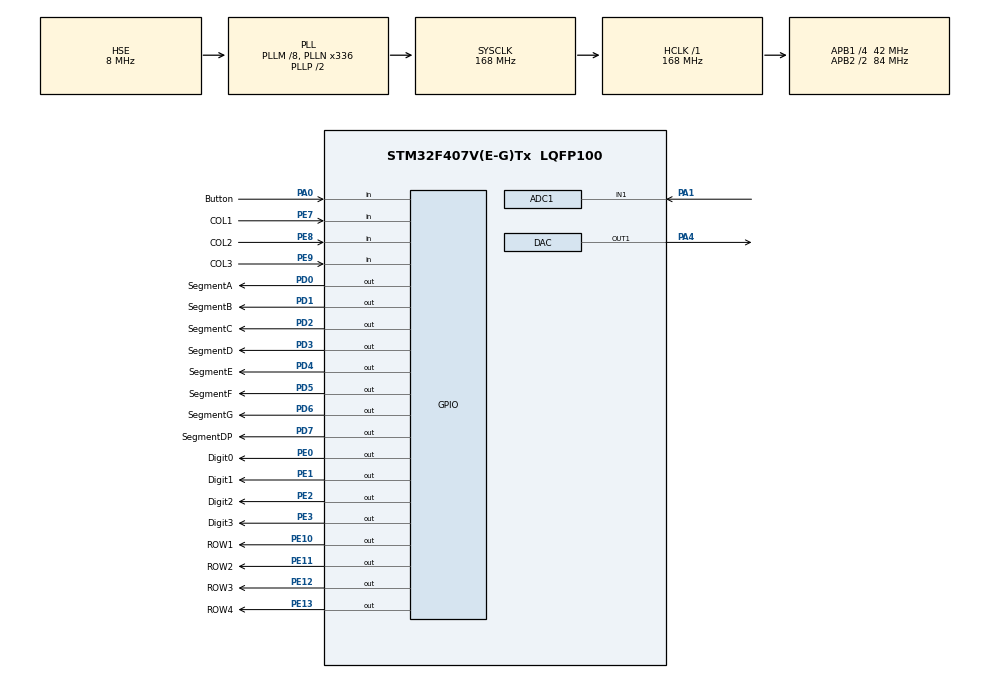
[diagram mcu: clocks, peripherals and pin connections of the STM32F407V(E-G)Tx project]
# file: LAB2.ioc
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ADC1.Channel-0\#ChannelRegularConversion=ADC_CHANNEL_1
ADC1.ClockPrescaler=ADC_CLOCK_SYNC_PCLK_DIV4
ADC1.ContinuousConvMode=ENABLE
ADC1.DMAContinuousRequests=ENABLE
ADC1.DataAlign=ADC_DATAALIGN_RIGHT
ADC1.DiscontinuousConvMode=DISABLE
ADC1.EOCSelection=ADC_EOC_SINGLE_CONV
ADC1.EnableAnalogWatchDog=false
ADC1.ExternalTrigConv=ADC_SOFTWARE_START
ADC1.ExternalTrigConvEdge=ADC_EXTERNALTRIGCONVEDGE_NONE
ADC1.InjNumberOfConversion=0
ADC1.NbrOfConversion=1
ADC1.NbrOfConversionFlag=1
ADC1.Rank-0\#ChannelRegularConversion=1
ADC1.Resolution=ADC_RESOLUTION_10B
ADC1.SamplingTime-0\#ChannelRegularConversion=ADC_SAMPLETIME_84CYCLES
ADC1.ScanConvMode=DISABLE
ADC1.master=1
Dma.ADC1.0.Direction=DMA_PERIPH_TO_MEMORY
Dma.ADC1.0.FIFOMode=DMA_FIFOMODE_DISABLE
Dma.ADC1.0.Instance=DMA2_Stream0
Dma.ADC1.0.MemDataAlignment=DMA_MDATAALIGN_WORD
Dma.ADC1.0.MemInc=DMA_MINC_ENABLE
Dma.ADC1.0.Mode=DMA_CIRCULAR
Dma.ADC1.0.PeriphDataAlignment=DMA_PDATAALIGN_WORD
Dma.ADC1.0.PeriphInc=DMA_PINC_DISABLE
Dma.ADC1.0.Priority=DMA_PRIORITY_LOW
Dma.Request0=ADC1
Mcu.Family=STM32F4
Mcu.Name=STM32F407V(E-G)Tx
Mcu.Package=LQFP100
NVIC.ADC_IRQn=true\:0\:0\:false\:false\:true\:true
NVIC.DMA2_Stream0_IRQn=true\:0\:0\:false\:false\:true\:false
NVIC.PriorityGroup=NVIC_PRIORITYGROUP_4
PA0-WKUP.GPIO_Label=Button
PA0-WKUP.GPIO_PuPd=GPIO_PULLDOWN
PA0-WKUP.Signal=GPIO_Input
PA1.Signal=ADCx_IN1
PA4.Signal=COMP_DAC1_group
PD0.GPIO_Label=SegmentA
PD0.Signal=GPIO_Output
PD1.GPIO_Label=SegmentB
PD1.Signal=GPIO_Output
PD2.GPIO_Label=SegmentC
PD2.Signal=GPIO_Output
PD3.GPIO_Label=SegmentD
PD3.Signal=GPIO_Output
PD4.GPIO_Label=SegmentE
PD4.Signal=GPIO_Output
PD5.GPIO_Label=SegmentF
PD5.Signal=GPIO_Output
PD6.GPIO_Label=SegmentG
PD6.Signal=GPIO_Output
PD7.GPIO_Label=SegmentDP
PD7.Signal=GPIO_Output
PE0.GPIO_Label=Digit0
PE0.Signal=GPIO_Output
PE1.GPIO_Label=Digit1
PE1.Signal=GPIO_Output
PE10.GPIO_Label=ROW1
PE10.Signal=GPIO_Output
PE11.GPIO_Label=ROW2
PE11.Signal=GPIO_Output
PE12.GPIO_Label=ROW3
PE12.Signal=GPIO_Output
PE13.GPIO_Label=ROW4
PE13.Signal=GPIO_Output
PE2.GPIO_Label=Digit2
PE2.Signal=GPIO_Output
PE3.GPIO_Label=Digit3
PE3.Signal=GPIO_Output
PE7.GPIO_Label=COL1
PE7.Signal=GPIO_Input
PE8.GPIO_Label=COL2
PE8.Signal=GPIO_Input
PE9.GPIO_Label=COL3
PE9.Signal=GPIO_Input
PH0-OSC_IN.Mode=HSE-External-Oscillator
PH0-OSC_IN.Signal=RCC_OSC_IN
PH1-OSC_OUT.Mode=HSE-External-Oscillator
PH1-OSC_OUT.Signal=RCC_OSC_OUT
ProjectManager.HeapSize=0x200
ProjectManager.StackSize=0x400
ProjectManager.TargetToolchain=MDK-ARM V5
RCC.48MHZClocksFreq_Value=84000000
RCC.AHBFreq_Value=168000000
RCC.APB1CLKDivider=RCC_HCLK_DIV4
RCC.APB1Freq_Value=42000000
RCC.APB1TimFreq_Value=84000000
RCC.APB2CLKDivider=RCC_HCLK_DIV2
RCC.APB2Freq_Value=84000000
RCC.APB2TimFreq_Value=168000000
RCC.CortexFreq_Value=168000000
RCC.HCLKFreq_Value=168000000
RCC.HSE_VALUE=8000000
RCC.HSI_VALUE=16000000
RCC.LSE_VALUE=32768
RCC.PLLM=8
RCC.PLLN=336
RCC.PLLSourceVirtual=RCC_PLLSOURCE_HSE
RCC.SYSCLKFreq_VALUE=168000000
RCC.SYSCLKSource=RCC_SYSCLKSOURCE_PLLCLK
RCC.VCOOutputFreq_Value=336000000
SH.ADCx_IN1.0=ADC1_IN1,IN1
SH.COMP_DAC1_group.0=DAC_OUT1,DAC_OUT1
board=LAB2

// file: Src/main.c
/**
  ******************************************************************************
  * @file           : main.c
  * @brief          : Main program body
  ******************************************************************************
  ** This notice applies to any and all portions of this file
  * that are not between comment pairs USER CODE BEGIN and
  * USER CODE END. Other portions of this file, whether
  * inserted by the user or by software development tools
  * are owned by their respective copyright owners.
  *
  * COPYRIGHT(c) 2018 STMicroelectronics
  *
  * Redistribution and use in source and binary forms, with or without modification,
  * are permitted provided that the following conditions are met:
  *   1. Redistributions of source code must retain the above copyright notice,
  *      this list of conditions and the following disclaimer.
  *   2. Redistributions in binary form must reproduce the above copyright notice,
  *      this list of conditions and the following disclaimer in the documentation
  *      and/or other materials provided with the distribution.
  *   3. Neither the name of STMicroelectronics nor the names of its contributors
  *      may be used to endorse or promote products derived from this software
  *      without specific prior written permission.
  *
  * THIS SOFTWARE IS PROVIDED BY THE COPYRIGHT HOLDERS AND CONTRIBUTORS "AS IS"
  * AND ANY EXPRESS OR IMPLIED WARRANTIES, INCLUDING, BUT NOT LIMITED TO, THE
  * IMPLIED WARRANTIES OF MERCHANTABILITY AND FITNESS FOR A PARTICULAR PURPOSE ARE
  * DISCLAIMED. IN NO EVENT SHALL THE COPYRIGHT HOLDER OR CONTRIBUTORS BE LIABLE
  * FOR ANY DIRECT, INDIRECT, INCIDENTAL, SPECIAL, EXEMPLARY, OR CONSEQUENTIAL
  * DAMAGES (INCLUDING, BUT NOT LIMITED TO, PROCUREMENT OF SUBSTITUTE GOODS OR
  * SERVICES; LOSS OF USE, DATA, OR PROFITS; OR BUSINESS INTERRUPTION) HOWEVER
  * CAUSED AND ON ANY THEORY OF LIABILITY, WHETHER IN CONTRACT, STRICT LIABILITY,
  * OR TORT (INCLUDING NEGLIGENCE OR OTHERWISE) ARISING IN ANY WAY OUT OF THE USE
  * OF THIS SOFTWARE, EVEN IF ADVISED OF THE POSSIBILITY OF SUCH DAMAGE.
  *
  ******************************************************************************
  */
#include "main.h"
#include "stm32f4xx_hal.h"

/* USER CODE BEGIN Includes */
#include "arm_math.h"
/* USER CODE END Includes */

ADC_HandleTypeDef hadc1;
DMA_HandleTypeDef hdma_adc1;

DAC_HandleTypeDef hdac;

/* USER CODE BEGIN PV */
/* Private variables ---------------------------------------------------------*/
volatile int systick_flag = 0;
int systick_counter = 0;
int current_display_digit = 0;
int current_display_mode = 0;
float running_min = 5;
float running_max = 0;
float adc_value = 0.0;
int button_ticks = 0;
int button_debounce_delay = 10;
uint32_t adc_readings[1];
float raw_data[10];
float filtered_data[10];
float rms_value;
float max_value;
float min_value;
float fir_coeff[10] = {
	-0.0490319314416,
	-0.0698589404353,
	0.0145608566286,
	0.213556898362,
	0.390773116886,
	0.390773116886,
	0.213556898362,
	0.0145608566286,
	-0.0698589404353,
	-0.0490319314416};

// keypad variables
	const char keypad [4][3] = {
	{'1', '2', '3'},
	{'4', '5', '6'},
	{'7', '8', '9'},
	{'*', '0', '#'}
};
/* USER CODE END PV */

void SystemClock_Config(void);
static void MX_GPIO_Init(void);
static void MX_DMA_Init(void);
static void MX_ADC1_Init(void);
static void MX_DAC_Init(void);

/* USER CODE BEGIN PFP */
/* Private function prototypes -----------------------------------------------*/
void update_rms_and_running_max_min(void);
uint32_t voltage_to_DAC_DOR(float voltage);
void set_DAC_value(float voltage);
void display_digit(int digit);
void display_number(float num);
void display_current_number(void);
float fir_filter(void);
int read_row();
int read_col();
char get_key();
/* USER CODE END PFP */

/* USER CODE BEGIN 0 */
/**
  * @brief  Updates the RMS, running MAX and running MIN based on the filtered data array.
  * @retval None
  */
void update_rms_and_running_max_min(void){
	// RMS
	arm_rms_f32(filtered_data, 10, &rms_value);
	// MAX & INDEX
	float32_t max;
	uint32_t maxIndex;
	arm_max_f32(filtered_data, 10, &max, &maxIndex);
	// MIN & INDEX
	float32_t min;
	uint32_t minIndex;
	arm_min_f32(filtered_data, 10, &min, &minIndex);
	if(running_max<max){
		running_max = max;
	}
	if(running_min>min){
		running_min = min;
	}
}

/**
  * @brief  Isolates for DOR in the following formula: DAC_OUTx = VREF+ * DOR / 4095.
  * @param  voltage: The voltage to be converted.
  * @retval The analog voltage converted to digital number.
  */
uint32_t voltage_to_DAC_DOR(float voltage)
{
	return (uint32_t)((voltage * 4095) / V_REF);
}

/**
  * @brief  Sets the DAC port to the desired voltage value.
  * @param  voltage: The voltage to set the DAC port to.
  * @retval None
  */
void set_DAC_value(float voltage)
{
	uint32_t converted_DAC_value = voltage_to_DAC_DOR(voltage);
	HAL_DAC_SetValue(&hdac, DAC_CHANNEL_1, DAC_ALIGN_12B_R, converted_DAC_value);
}

// 7-Segment Display
// Pins PD0 to PD7: Segments
// Pins PE0 to PE3: Digits

/**
  * @brief  Activate the required segments to display the desired digit.
  * @param  digit: The digit to display.
  * @retval None
  */
void display_digit(int digit)
{
	switch(digit)
	{
		case 0:
			HAL_GPIO_WritePin(GPIOD, SegmentA_Pin|SegmentB_Pin|SegmentC_Pin|SegmentD_Pin
                          |SegmentE_Pin|SegmentF_Pin, GPIO_PIN_SET);
			HAL_GPIO_WritePin(GPIOD, SegmentG_Pin, GPIO_PIN_RESET);
			break;
		case 1:
			HAL_GPIO_WritePin(GPIOD, SegmentB_Pin|SegmentC_Pin, GPIO_PIN_SET);
			HAL_GPIO_WritePin(GPIOD, SegmentA_Pin|SegmentD_Pin
                          |SegmentE_Pin|SegmentF_Pin|SegmentG_Pin, GPIO_PIN_RESET);
			break;
		case 2:
			HAL_GPIO_WritePin(GPIOD, SegmentA_Pin|SegmentB_Pin|SegmentD_Pin
                          |SegmentE_Pin|SegmentG_Pin, GPIO_PIN_SET);
			HAL_GPIO_WritePin(GPIOD, SegmentC_Pin|SegmentF_Pin, GPIO_PIN_RESET);
			break;
		case 3:
			HAL_GPIO_WritePin(GPIOD, SegmentA_Pin|SegmentB_Pin|SegmentC_Pin|SegmentD_Pin
                          |SegmentG_Pin, GPIO_PIN_SET);
			HAL_GPIO_WritePin(GPIOD, SegmentE_Pin|SegmentF_Pin, GPIO_PIN_RESET);
			break;
		case 4:
			HAL_GPIO_WritePin(GPIOD, SegmentB_Pin|SegmentC_Pin|SegmentF_Pin|SegmentG_Pin, GPIO_PIN_SET);
			HAL_GPIO_WritePin(GPIOD, SegmentA_Pin|SegmentD_Pin|SegmentE_Pin, GPIO_PIN_RESET);
			break;
		case 5:
			HAL_GPIO_WritePin(GPIOD, SegmentA_Pin|SegmentC_Pin|SegmentD_Pin
                          |SegmentF_Pin|SegmentG_Pin, GPIO_PIN_SET);
			HAL_GPIO_WritePin(GPIOD, SegmentB_Pin|SegmentE_Pin, GPIO_PIN_RESET);
			break;
		case 6:
			HAL_GPIO_WritePin(GPIOD, SegmentA_Pin|SegmentC_Pin|SegmentD_Pin
                          |SegmentE_Pin|SegmentF_Pin|SegmentG_Pin, GPIO_PIN_SET);
			HAL_GPIO_WritePin(GPIOD, SegmentB_Pin, GPIO_PIN_RESET);
			break;
		case 7:
			HAL_GPIO_WritePin(GPIOD, SegmentA_Pin|SegmentB_Pin|SegmentC_Pin|SegmentD_Pin, GPIO_PIN_SET);
			HAL_GPIO_WritePin(GPIOD, SegmentD_Pin|SegmentE_Pin|SegmentF_Pin|SegmentG_Pin|SegmentDP_Pin, GPIO_PIN_RESET);
			break;
		case 8:
			HAL_GPIO_WritePin(GPIOD, SegmentA_Pin|SegmentB_Pin|SegmentC_Pin|SegmentD_Pin
                          |SegmentE_Pin|SegmentF_Pin|SegmentG_Pin|SegmentDP_Pin, GPIO_PIN_SET);
			HAL_GPIO_WritePin(GPIOD, SegmentDP_Pin, GPIO_PIN_RESET);
			break;
		case 9:
			HAL_GPIO_WritePin(GPIOD, SegmentA_Pin|SegmentB_Pin|SegmentC_Pin|SegmentF_Pin|SegmentG_Pin|SegmentDP_Pin, GPIO_PIN_SET);
			HAL_GPIO_WritePin(GPIOD, SegmentD_Pin|SegmentE_Pin|SegmentDP_Pin, GPIO_PIN_RESET);
			break;
	}
}

/**
  * @brief  Displays a 3-digit number (ranging from 0.00 to 9.99) on the 7 segment display.
  * @param  num: The number to display.
  * @retval None
  */
void display_number(float num)
{
	switch(current_display_digit)
	{
		case 0:
			HAL_GPIO_WritePin(GPIOE, Digit0_Pin, GPIO_PIN_RESET);
			HAL_GPIO_WritePin(GPIOE, Digit1_Pin|Digit2_Pin|Digit3_Pin, GPIO_PIN_SET);
			HAL_GPIO_WritePin(GPIOD, SegmentDP_Pin, GPIO_PIN_RESET);
			display_digit(current_display_mode);
			break;
		case 1:
			HAL_GPIO_WritePin(GPIOE, Digit1_Pin, GPIO_PIN_RESET);
			HAL_GPIO_WritePin(GPIOE, Digit0_Pin|Digit2_Pin|Digit3_Pin, GPIO_PIN_SET);
			HAL_GPIO_WritePin(GPIOD, SegmentDP_Pin, GPIO_PIN_SET); // Set decimal point
			display_digit((int) num);
			break;
		case 2:
			HAL_GPIO_WritePin(GPIOE, Digit2_Pin, GPIO_PIN_RESET);
			HAL_GPIO_WritePin(GPIOE, Digit0_Pin|Digit1_Pin|Digit3_Pin, GPIO_PIN_SET);
			HAL_GPIO_WritePin(GPIOD, SegmentDP_Pin, GPIO_PIN_RESET);
			display_digit(((int)(num * 10) % 10));
			break;
		case 3:
			HAL_GPIO_WritePin(GPIOE, Digit3_Pin, GPIO_PIN_RESET);
			HAL_GPIO_WritePin(GPIOE, Digit0_Pin|Digit1_Pin|Digit2_Pin, GPIO_PIN_SET);
			HAL_GPIO_WritePin(GPIOD, SegmentDP_Pin, GPIO_PIN_RESET);
			display_digit(((int)(num * 100) % 10));
			break;
	}
	current_display_digit = (current_display_digit + 1) % 4;
}

/**
  * @brief  Displays either the RMS, MAX or MIN value depending on the current mode.
  * @retval None
  */
void display_current_number(void)
{
	switch(current_display_mode)
	{
		case 0:
			// Display RMS value
			display_number(rms_value);
			break;
		case 1:
			// Display MAX value
			display_number(max_value);
			break;
		case 2:
			// Display MIN value
			display_number(min_value);
			break;
	}
}

/**
  * @brief  Processes the raw ADC data with an FIR filter, returning the filtered value.
  * @retval The filtered value based on the previous ADC readings.
  */
float fir_filter(void)
{
	int order = 10;
	float sum = 0;
	for(int i = 0; i<order;i++){
		sum+=fir_coeff[i]*raw_data[i];
	}
	return sum;
}
/**
	*@brief Obtain row of pressed key
	*@return -1 if none, or index of row of pressed key
	**/
int read_row(){
	GPIO_InitTypeDef GPIO_InitStruct;

	//columns as input and high COL1, COL2, COL3
	GPIO_InitStruct.Pin = COL1_Pin|COL2_Pin|COL3_Pin;
	GPIO_InitStruct.Mode = GPIO_MODE_OUTPUT_PP;
	GPIO_InitStruct.Pull = GPIO_NOPULL;
	GPIO_InitStruct.Speed = GPIO_SPEED_HIGH;
	HAL_GPIO_Init(GPIOE, &GPIO_InitStruct);
	HAL_GPIO_WritePin(GPIOE, COL1_Pin|COL2_Pin|COL3_Pin, GPIO_PIN_SET);

	// rows as inputs ROW1, ROW2, ROW3, ROW4
	GPIO_InitStruct.Pin = ROW1_Pin|ROW2_Pin|ROW3_Pin|ROW4_Pin;
	GPIO_InitStruct.Mode = GPIO_MODE_INPUT;
	GPIO_InitStruct.Pull = GPIO_PULLDOWN;
	GPIO_InitStruct.Speed = GPIO_SPEED_HIGH;
	HAL_GPIO_Init(GPIOB, &GPIO_InitStruct);

	int row = -1;

	if(HAL_GPIO_ReadPin(GPIOB, ROW1_Pin) == GPIO_PIN_SET){
		row = 1;
	} else if (HAL_GPIO_ReadPin(GPIOB, ROW2_Pin) == GPIO_PIN_SET){
		row = 2;
	} else if (HAL_GPIO_ReadPin(GPIOB, ROW3_Pin) == GPIO_PIN_SET){
		row = 3;
	} else if (HAL_GPIO_ReadPin(GPIOB, ROW4_Pin) == GPIO_PIN_SET){
		row = 4;
	}

	HAL_GPIO_WritePin(GPIOE, COL1_Pin|COL2_Pin|COL3_Pin, GPIO_PIN_RESET);
	return row;
}

/**
	*@brief Obtain column of pressed key
	*@return -1 if none, or index of column of pressed key
	**/

int read_col(){
	GPIO_InitTypeDef GPIO_InitStruct;

	//rows as output and high ROW1, ROW2, ROW3, ROW4
	GPIO_InitStruct.Pin = ROW1_Pin|ROW2_Pin|ROW3_Pin|ROW4_Pin;
	GPIO_InitStruct.Mode = GPIO_MODE_OUTPUT_PP;
	GPIO_InitStruct.Pull = GPIO_NOPULL;
	GPIO_InitStruct.Speed = GPIO_SPEED_HIGH;
	HAL_GPIO_Init(GPIOB, &GPIO_InitStruct);
	HAL_GPIO_WritePin(GPIOB, ROW1_Pin|ROW2_Pin|ROW3_Pin|ROW4_Pin, GPIO_PIN_SET); //COL1_Pin|COL2_Pin|COL3_Pin

	// columns as input COL1, COL2, COL3
	GPIO_InitStruct.Pin = COL1_Pin|COL2_Pin|COL3_Pin;
	GPIO_InitStruct.Mode = GPIO_MODE_INPUT;
	GPIO_InitStruct.Pull = GPIO_PULLDOWN;
	GPIO_InitStruct.Speed = GPIO_SPEED_HIGH;
	HAL_GPIO_Init(GPIOE, &GPIO_InitStruct);

	//read the column
	int col = -1;

	if(HAL_GPIO_ReadPin(GPIOE, COL1_Pin) == GPIO_PIN_SET){
		col = 1;
		printf("column 1 pressed");
	} else if(HAL_GPIO_ReadPin(GPIOE, COL2_Pin) == GPIO_PIN_SET){
		col = 2;
	} else if(HAL_GPIO_ReadPin(GPIOE, COL3_Pin) == GPIO_PIN_SET){
		col = 3;
	}

	HAL_GPIO_WritePin(GPIOB, ROW1_Pin|ROW2_Pin|ROW3_Pin|ROW4_Pin, GPIO_PIN_RESET);
	return col;
}

/**
	*@brief Obtain character from key press
	*@return char of pressed key or null ('\0') if none
	**/
char get_key(){
	char key;
	int row, col;
	row = read_row();
	col = read_col();

	if(row == -1 || col == -1){
		key = '\0'; //no key pressed
	} else {
		key = keypad[row-1][col-1];
	}
}

/* USER CODE END 0 */

int main(void)
{

  /* MCU Configuration----------------------------------------------------------*/

  /* Reset of all peripherals, Initializes the Flash interface and the Systick. */
  HAL_Init();

  /* Configure the system clock */
  SystemClock_Config();

  /* USER CODE BEGIN SysInit */
	HAL_SYSTICK_Config(HAL_RCC_GetHCLKFreq() / 200); // Set SysTick interrupt frequency to 200 Hz (5 ms)

  /* USER CODE END SysInit */

  /* Initialize all configured peripherals */
  MX_GPIO_Init();
  MX_DMA_Init();
  MX_ADC1_Init();
  MX_DAC_Init();
  /* USER CODE BEGIN 2 */
	HAL_DAC_Start(&hdac, DAC_CHANNEL_1);
	if (HAL_ADC_Start(&hadc1) != HAL_OK)
	{
		printf("HAL ADC failed.\n");
		return 0;
	}
	if (HAL_ADC_Start_DMA(&hadc1, adc_readings, 1) != HAL_OK)
	{
		printf("HAL ADC DMA failed.\n");
		return 0;
	}
	GPIO_PinState last_button_state = GPIO_PIN_RESET;
	GPIO_PinState button_state = GPIO_PIN_RESET;
	set_DAC_value(1.5); // Set the DAC voltage (PA4)
  /* USER CODE END 2 */

  /* Infinite loop */
  /* USER CODE BEGIN WHILE */
  while (1)
  {
		//read pressed key
		char key = get_key();

		// Read the B1 button (PA0) with debouncing
		// Debounce inspired from https://www.arduino.cc/en/Tutorial/Debounce
		GPIO_PinState reading = HAL_GPIO_ReadPin(Button_GPIO_Port, Button_Pin);
		if(reading != last_button_state)
		{
			button_ticks = 0;
		}
		if(button_ticks > button_debounce_delay)
		{
			if (reading != button_state) {
				button_state = reading;

				if (button_state)
				{
					current_display_mode = (current_display_mode + 1) % 3;
				}
			}
		}
		last_button_state = reading;

		// Every 5 ms
		if (systick_flag)
		{
			// Display on 7 segment display
			display_current_number();

			// Update counters
			button_ticks++;
			systick_counter = (systick_counter + 1) % 2000;

			// Reset flag
			systick_flag = 0;

			// Every 20 ms
			if (systick_counter % 4 == 0)
			{
				// Shift raw data array up
				for (int i = 1; i < 10; i++)
				{
					raw_data[i] = raw_data[i - 1];
				}

				// Sample raw ADC data
				raw_data[0] = (adc_readings[0] / 1023.0) * V_REF;

				// Shift filtered data array up
				for (int i = 1; i < 10; i++)
				{
					filtered_data[i] = filtered_data[i - 1];
				}

				// Update filtered data
				filtered_data[0] = fir_filter();
			}

			// Every 200 ms
			if (systick_counter % 40 == 0)
			{
				// Update RMS value and running MAX and running MIN
				update_rms_and_running_max_min();
			}

			// Every 10 s
			if (systick_counter == 0)
			{
				// Update MAX and MIN values
				max_value = running_max;
				min_value = running_min;

				// Reset running MIN and MAX values
				running_max = 0;
				running_min = 5;
			}
		}

  /* USER CODE END WHILE */

  }

}

void SystemClock_Config(void)
{

  RCC_OscInitTypeDef RCC_OscInitStruct;
  RCC_ClkInitTypeDef RCC_ClkInitStruct;

    /**Configure the main internal regulator output voltage
    */
  __HAL_RCC_PWR_CLK_ENABLE();

  __HAL_PWR_VOLTAGESCALING_CONFIG(PWR_REGULATOR_VOLTAGE_SCALE1);

    /**Initializes the CPU, AHB and APB busses clocks
    */
  RCC_OscInitStruct.OscillatorType = RCC_OSCILLATORTYPE_HSE;
  RCC_OscInitStruct.HSEState = RCC_HSE_ON;
  RCC_OscInitStruct.PLL.PLLState = RCC_PLL_ON;
  RCC_OscInitStruct.PLL.PLLSource = RCC_PLLSOURCE_HSE;
  RCC_OscInitStruct.PLL.PLLM = 8;
  RCC_OscInitStruct.PLL.PLLN = 336;
  RCC_OscInitStruct.PLL.PLLP = RCC_PLLP_DIV2;
  RCC_OscInitStruct.PLL.PLLQ = 4;
  if (HAL_RCC_OscConfig(&RCC_OscInitStruct) != HAL_OK)
  {
    _Error_Handler(__FILE__, __LINE__);
  }

    /**Initializes the CPU, AHB and APB busses clocks
    */
  RCC_ClkInitStruct.ClockType = RCC_CLOCKTYPE_HCLK|RCC_CLOCKTYPE_SYSCLK
                              |RCC_CLOCKTYPE_PCLK1|RCC_CLOCKTYPE_PCLK2;
  RCC_ClkInitStruct.SYSCLKSource = RCC_SYSCLKSOURCE_PLLCLK;
  RCC_ClkInitStruct.AHBCLKDivider = RCC_SYSCLK_DIV1;
  RCC_ClkInitStruct.APB1CLKDivider = RCC_HCLK_DIV4;
  RCC_ClkInitStruct.APB2CLKDivider = RCC_HCLK_DIV2;

  if (HAL_RCC_ClockConfig(&RCC_ClkInitStruct, FLASH_LATENCY_5) != HAL_OK)
  {
    _Error_Handler(__FILE__, __LINE__);
  }

    /**Configure the Systick interrupt time
    */
  HAL_SYSTICK_Config(HAL_RCC_GetHCLKFreq()/1000);

    /**Configure the Systick
    */
  HAL_SYSTICK_CLKSourceConfig(SYSTICK_CLKSOURCE_HCLK);

  /* SysTick_IRQn interrupt configuration */
  HAL_NVIC_SetPriority(SysTick_IRQn, 0, 0);
}

/* ADC1 init function */
static void MX_ADC1_Init(void)
{

  ADC_ChannelConfTypeDef sConfig;

    /**Configure the global features of the ADC (Clock, Resolution, Data Alignment and number of conversion)
    */
  hadc1.Instance = ADC1;
  hadc1.Init.ClockPrescaler = ADC_CLOCK_SYNC_PCLK_DIV4;
  hadc1.Init.Resolution = ADC_RESOLUTION_10B;
  hadc1.Init.ScanConvMode = DISABLE;
  hadc1.Init.ContinuousConvMode = ENABLE;
  hadc1.Init.DiscontinuousConvMode = DISABLE;
  hadc1.Init.ExternalTrigConvEdge = ADC_EXTERNALTRIGCONVEDGE_NONE;
  hadc1.Init.ExternalTrigConv = ADC_SOFTWARE_START;
  hadc1.Init.DataAlign = ADC_DATAALIGN_RIGHT;
  hadc1.Init.NbrOfConversion = 1;
  hadc1.Init.DMAContinuousRequests = ENABLE;
  hadc1.Init.EOCSelection = ADC_EOC_SINGLE_CONV;
  if (HAL_ADC_Init(&hadc1) != HAL_OK)
  {
    _Error_Handler(__FILE__, __LINE__);
  }

    /**Configure for the selected ADC regular channel its corresponding rank in the sequencer and its sample time.
    */
  sConfig.Channel = ADC_CHANNEL_1;
  sConfig.Rank = 1;
  sConfig.SamplingTime = ADC_SAMPLETIME_84CYCLES;
  if (HAL_ADC_ConfigChannel(&hadc1, &sConfig) != HAL_OK)
  {
    _Error_Handler(__FILE__, __LINE__);
  }

}

/* DAC init function */
static void MX_DAC_Init(void)
{

  DAC_ChannelConfTypeDef sConfig;

    /**DAC Initialization
    */
  hdac.Instance = DAC;
  if (HAL_DAC_Init(&hdac) != HAL_OK)
  {
    _Error_Handler(__FILE__, __LINE__);
  }

    /**DAC channel OUT1 config
    */
  sConfig.DAC_Trigger = DAC_TRIGGER_NONE;
  sConfig.DAC_OutputBuffer = DAC_OUTPUTBUFFER_ENABLE;
  if (HAL_DAC_ConfigChannel(&hdac, &sConfig, DAC_CHANNEL_1) != HAL_OK)
  {
    _Error_Handler(__FILE__, __LINE__);
  }

}

static void MX_DMA_Init(void)
{
  /* DMA controller clock enable */
  __HAL_RCC_DMA2_CLK_ENABLE();

  /* DMA interrupt init */
  /* DMA2_Stream0_IRQn interrupt configuration */
  HAL_NVIC_SetPriority(DMA2_Stream0_IRQn, 0, 0);
  HAL_NVIC_EnableIRQ(DMA2_Stream0_IRQn);

}

/** Configure pins as
        * Analog
        * Input
        * Output
        * EVENT_OUT
        * EXTI
*/
static void MX_GPIO_Init(void)
{

  GPIO_InitTypeDef GPIO_InitStruct;

  /* GPIO Ports Clock Enable */
  __HAL_RCC_GPIOE_CLK_ENABLE();
  __HAL_RCC_GPIOH_CLK_ENABLE();
  __HAL_RCC_GPIOA_CLK_ENABLE();
  __HAL_RCC_GPIOD_CLK_ENABLE();

  /*Configure GPIO pin Output Level */
  HAL_GPIO_WritePin(GPIOE, Digit2_Pin|Digit3_Pin|ROW1_Pin|ROW2_Pin
                          |ROW3_Pin|ROW4_Pin|Digit0_Pin|Digit1_Pin, GPIO_PIN_RESET);

  /*Configure GPIO pin Output Level */
  HAL_GPIO_WritePin(GPIOD, SegmentA_Pin|SegmentB_Pin|SegmentC_Pin|SegmentD_Pin
                          |SegmentE_Pin|SegmentF_Pin|SegmentG_Pin|SegmentDP_Pin, GPIO_PIN_RESET);

  /*Configure GPIO pins : Digit2_Pin Digit3_Pin ROW1_Pin ROW2_Pin
                           ROW3_Pin ROW4_Pin Digit0_Pin Digit1_Pin */
  GPIO_InitStruct.Pin = Digit2_Pin|Digit3_Pin|ROW1_Pin|ROW2_Pin
                          |ROW3_Pin|ROW4_Pin|Digit0_Pin|Digit1_Pin;
  GPIO_InitStruct.Mode = GPIO_MODE_OUTPUT_PP;
  GPIO_InitStruct.Pull = GPIO_NOPULL;
  GPIO_InitStruct.Speed = GPIO_SPEED_FREQ_LOW;
  HAL_GPIO_Init(GPIOE, &GPIO_InitStruct);

  /*Configure GPIO pin : Button_Pin */
  GPIO_InitStruct.Pin = Button_Pin;
  GPIO_InitStruct.Mode = GPIO_MODE_INPUT;
  GPIO_InitStruct.Pull = GPIO_PULLDOWN;
  HAL_GPIO_Init(Button_GPIO_Port, &GPIO_InitStruct);

  /*Configure GPIO pins : COL1_Pin COL2_Pin COL3_Pin */
  GPIO_InitStruct.Pin = COL1_Pin|COL2_Pin|COL3_Pin;
  GPIO_InitStruct.Mode = GPIO_MODE_INPUT;
  GPIO_InitStruct.Pull = GPIO_NOPULL;
  HAL_GPIO_Init(GPIOE, &GPIO_InitStruct);

  /*Configure GPIO pins : SegmentA_Pin SegmentB_Pin SegmentC_Pin SegmentD_Pin
                           SegmentE_Pin SegmentF_Pin SegmentG_Pin SegmentDP_Pin */
  GPIO_InitStruct.Pin = SegmentA_Pin|SegmentB_Pin|SegmentC_Pin|SegmentD_Pin
                          |SegmentE_Pin|SegmentF_Pin|SegmentG_Pin|SegmentDP_Pin;
  GPIO_InitStruct.Mode = GPIO_MODE_OUTPUT_PP;
  GPIO_InitStruct.Pull = GPIO_NOPULL;
  GPIO_InitStruct.Speed = GPIO_SPEED_FREQ_LOW;
  HAL_GPIO_Init(GPIOD, &GPIO_InitStruct);

}

void _Error_Handler(char *file, int line)
{
  while(1)
  {
  }
}

/************************ (C) COPYRIGHT STMicroelectronics *****END OF FILE****/
